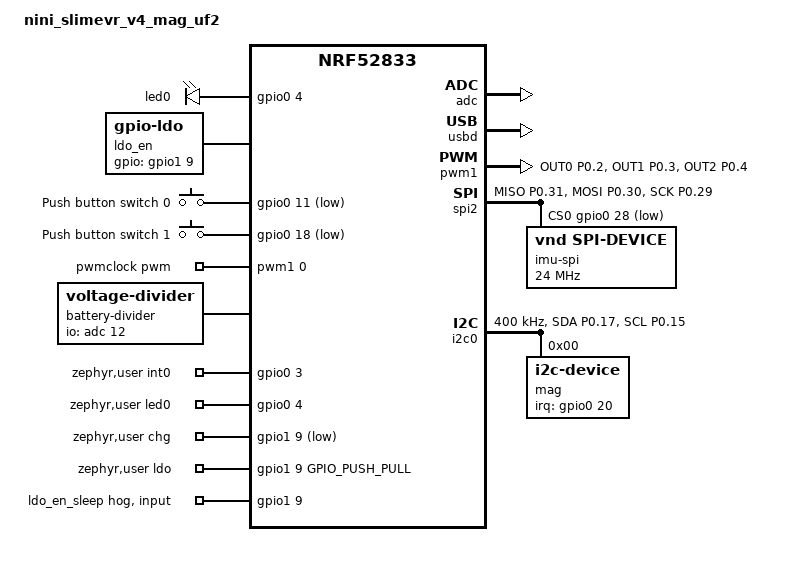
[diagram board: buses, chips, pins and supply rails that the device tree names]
// Based on NiNi_slimevr_v3_mag_uf2, with PWM RGB LED support

/dts-v1/;
#include <nordic/nrf52833_qdaa.dtsi>

&pinctrl {
	spi2_default: spi2_default {
		group1 {
			psels = <NRF_PSEL(SPIM_MISO, 0, 31)>,
				<NRF_PSEL(SPIM_MOSI, 0, 30)>,
				<NRF_PSEL(SPIM_SCK, 0, 29)>;
		};
	};

	spi2_sleep: spi2_sleep {
		group1 {
			psels = <NRF_PSEL(SPIM_MISO, 0, 31)>,
				<NRF_PSEL(SPIM_MOSI, 0, 30)>,
				<NRF_PSEL(SPIM_SCK, 0, 29)>;
			low-power-enable;
		};
	};

	i2c0_default: i2c0_default {
		group1 {
			psels = <NRF_PSEL(TWIM_SDA, 0, 17)>,
				<NRF_PSEL(TWIM_SCL, 0, 15)>;
		};
	};

	i2c0_sleep: i2c0_sleep {
		group1 {
			psels = <NRF_PSEL(TWIM_SDA, 0, 17)>,
				<NRF_PSEL(TWIM_SCL, 0, 15)>;
			low-power-enable;
		};
	};

	pwm1_default: pwm1_default {
		group1 {
			/* RGB LED on P0.2, P0.3, P0.4 (example) */
			psels = <NRF_PSEL(PWM_OUT0, 0, 2)>,
				<NRF_PSEL(PWM_OUT1, 0, 3)>,
				<NRF_PSEL(PWM_OUT2, 0, 4)>;
		};
	};

	pwm1_sleep: pwm1_sleep {
		group1 {
			psels = <NRF_PIN_DISCONNECTED>;
			low-power-enable;
		};
	};

	ldo_ctrl_default: ldo_ctrl_default {
		group1 {
			psels = <NRF_PSEL(GPIO, 0, 5)>;
			nordic,drive-mode = <NRF_DRIVE_S0S1>;
		};
	};

	ldo_ctrl_sleep: ldo_ctrl_sleep {
		group1 {
			psels = <NRF_PSEL(GPIO, 0, 5)>;
			nordic,drive-mode = <NRF_DRIVE_S0S1>;
			low-power-enable;
		};
	};
};

/ {
	model = "nini_slimevr_v4_mag_uf2";
	compatible = "nini_slimevr_v4_mag_uf2";

	chosen {
		zephyr,sram = &sram0;
		zephyr,flash = &flash0;
		zephyr,console = &cdc_acm_uart0;
		zephyr,shell-uart = &cdc_acm_uart0;
	};

	leds {
		compatible = "gpio-leds";
		led0: led_0 {
			gpios = <&gpio0 4 GPIO_OPEN_SOURCE>;
		};
	};

	ldo_en: ldo-en {
		compatible = "gpio-ldo";
		gpios = <&gpio1 9 GPIO_ACTIVE_HIGH>;
	};

	buttons {
		compatible = "gpio-keys";
		button0: button_0 {
			gpios = <&gpio0 11 (GPIO_PULL_UP | GPIO_ACTIVE_LOW)>;
			label = "Push button switch 0";
		};
		button1: button_1 {
			gpios = <&gpio0 18 (GPIO_PULL_UP | GPIO_ACTIVE_LOW)>;
			label = "Push button switch 1";
		};
	};

	aliases {
		sw0 = &button0;
		sw1 = &button1;
		led0 = &led0;
	};

	pwmclock: pwmclock {
		compatible = "pwm-clock";
		#clock-cells = <1>;
		pwms = <&pwm1 0 PWM_HZ(32768) PWM_POLARITY_NORMAL>;
	};

	battery-divider {
		compatible = "voltage-divider";
		status = "okay";
		io-channels = <&adc 12>; /* Measure VDDHDIV5 */
		output-ohms = <1>;
		full-ohms = <5>;
	};

	zephyr,user {
		int0-gpios = <&gpio0 3 0>;
		led0-gpios = <&gpio0 4 GPIO_ACTIVE_HIGH>;
		chg-gpios = <&gpio1 9 (GPIO_ACTIVE_LOW | GPIO_PULL_UP)>;
		ldo-gpios = <&gpio1 9 GPIO_PUSH_PULL>;
		/* RGB LED channels driven by PWM1 CH0/1/2 */
		rgb-red-pwms   = <&pwm1 0 PWM_MSEC(20) PWM_POLARITY_NORMAL>;
		rgb-green-pwms = <&pwm1 1 PWM_MSEC(20) PWM_POLARITY_NORMAL>;
		rgb-blue-pwms  = <&pwm1 2 PWM_MSEC(20) PWM_POLARITY_NORMAL>;
	};
};

&reg1 {
	regulator-initial-mode = <NRF5X_REG_MODE_LDO>;
};

&adc {
	status = "okay";
};

&gpiote {
	status = "okay";
};

&gpio0 {
	status = "okay";
};

&gpio1 {
	status = "okay";
	ldo_en_sleep: ldo-en-sleep {
		gpio-hog;
		gpios = <9 GPIO_PULL_DOWN>;
		input;
	};
};

zephyr_udc0: &usbd {
	compatible = "nordic,nrf-usbd";
	status = "okay";
	cdc_acm_uart0: cdc_acm_uart0 {
		compatible = "zephyr,cdc-acm-uart";
	};
};

&nfct {
	status = "disabled";
};

&pwm1 {
	status = "okay";
	pinctrl-0 = <&pwm1_default>;
	pinctrl-1 = <&pwm1_sleep>;
	pinctrl-names = "default", "sleep";
};

&spi2 {
	status = "okay";
	compatible = "nordic,nrf-spim";
	pinctrl-0 = <&spi2_default>;
	pinctrl-1 = <&spi2_sleep>;
	pinctrl-names = "default", "sleep";
	cs-gpios = <&gpio0 28 GPIO_ACTIVE_LOW>;

	imu_spi: imu@0 {
		compatible = "vnd,spi-device";
		spi-max-frequency = <DT_FREQ_M(24)>;
		label = "imu-spi";
		reg = <0>;
	};
};

&i2c0 {
	compatible = "nordic,nrf-twim";
	status = "okay";
	zephyr,concat-buf-size = <1023>;
	zephyr,flash-buf-max-size = <1023>;
	clock-frequency = <I2C_BITRATE_FAST>;
	pinctrl-0 = <&i2c0_default>;
	pinctrl-1 = <&i2c0_sleep>;
	pinctrl-names = "default", "sleep";

	mag: mag@0 {
		compatible = "i2c-device";
		label = "mag";
		reg = <0>;
		irq-gpios = <&gpio0 20 GPIO_ACTIVE_HIGH>;
	};
};


